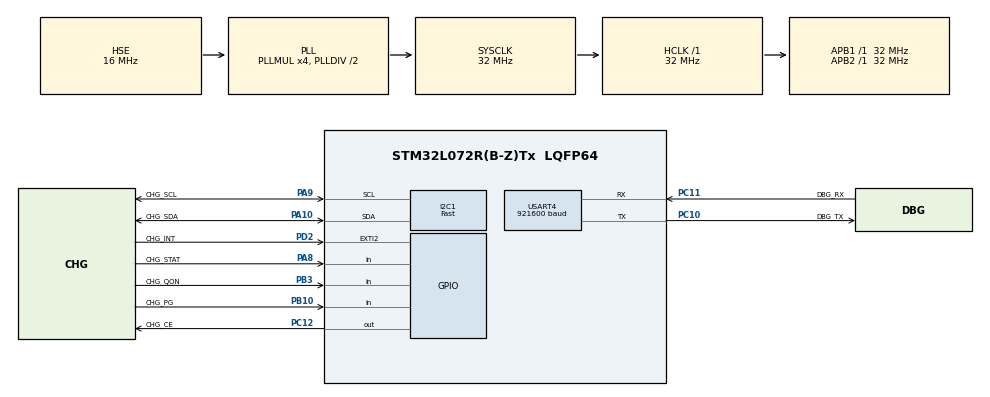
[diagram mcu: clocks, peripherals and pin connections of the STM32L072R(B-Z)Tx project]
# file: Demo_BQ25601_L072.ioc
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Dma.Request0=USART4_TX
Dma.USART4_TX.0.Direction=DMA_MEMORY_TO_PERIPH
Dma.USART4_TX.0.Instance=DMA1_Channel3
Dma.USART4_TX.0.MemDataAlignment=DMA_MDATAALIGN_BYTE
Dma.USART4_TX.0.MemInc=DMA_MINC_ENABLE
Dma.USART4_TX.0.Mode=DMA_NORMAL
Dma.USART4_TX.0.PeriphDataAlignment=DMA_PDATAALIGN_BYTE
Dma.USART4_TX.0.PeriphInc=DMA_PINC_DISABLE
Dma.USART4_TX.0.Priority=DMA_PRIORITY_LOW
I2C1.I2C_Speed_Mode=I2C_Fast
I2C1.Timing=0x0060112F
Mcu.Family=STM32L0
Mcu.Name=STM32L072R(B-Z)Tx
Mcu.Package=LQFP64
NVIC.DMA1_Channel2_3_IRQn=true\:0\:0\:false\:false\:true\:false\:true\:true
NVIC.EXTI2_3_IRQn=true\:0\:0\:false\:false\:true\:true\:true\:true
NVIC.USART4_5_IRQn=true\:0\:0\:false\:false\:true\:true\:true\:true
PA0.GPIO_Label=WKUP_QON
PA0.Mode=SYS_WakeUp0
PA0.Signal=SYS_WKUP1
PA10.GPIO_Label=CHG_SDA
PA10.Mode=I2C
PA10.Signal=I2C1_SDA
PA13.Mode=Serial_Wire
PA13.Signal=SYS_SWDIO
PA14.Mode=Serial_Wire
PA14.Signal=SYS_SWCLK
PA8.GPIO_Label=CHG_STAT
PA8.Signal=GPIO_Input
PA9.GPIO_Label=CHG_SCL
PA9.Mode=I2C
PA9.Signal=I2C1_SCL
PB10.GPIO_Label=CHG_PG
PB10.Signal=GPIO_Input
PB3.GPIO_Label=CHG_QON
PB3.Signal=GPIO_Input
PC10.GPIO_Label=DBG_TX
PC10.Mode=Asynchronous
PC10.Signal=USART4_TX
PC11.GPIO_Label=DBG_RX
PC11.Mode=Asynchronous
PC11.Signal=USART4_RX
PC12.GPIO_Label=CHG_CE
PC12.Signal=GPIO_Output
PD2.GPIO_Label=CHG_INT
PD2.GPIO_ModeDefaultEXTI=GPIO_MODE_IT_FALLING
PD2.GPIO_PuPd=GPIO_NOPULL
PD2.Signal=GPXTI2
PH0-OSC_IN.Mode=HSE-External-Oscillator
PH0-OSC_IN.Signal=RCC_OSC_IN
PH1-OSC_OUT.Mode=HSE-External-Oscillator
PH1-OSC_OUT.Signal=RCC_OSC_OUT
ProjectManager.HeapSize=0x200
ProjectManager.StackSize=0x400
ProjectManager.TargetToolchain=STM32CubeIDE
RCC.AHBFreq_Value=32000000
RCC.APB1Freq_Value=32000000
RCC.APB1TimFreq_Value=32000000
RCC.APB2Freq_Value=32000000
RCC.APB2TimFreq_Value=32000000
RCC.HCLKFreq_Value=32000000
RCC.HSE_VALUE=16000000
RCC.HSI16_VALUE=16000000
RCC.HSI48_VALUE=48000000
RCC.HSI_VALUE=16000000
RCC.LSE_VALUE=32768
RCC.MSI_VALUE=2097000
RCC.PLLMUL=RCC_PLLMUL_4
RCC.PLLSourceVirtual=RCC_PLLSOURCE_HSE
RCC.SYSCLKFreq_VALUE=32000000
RCC.SYSCLKSource=RCC_SYSCLKSOURCE_PLLCLK
RCC.VCOOutputFreq_Value=64000000
USART4.BaudRate=921600
USART4.VirtualMode-Asynchronous=VM_ASYNC
board=custom

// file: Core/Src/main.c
/* USER CODE BEGIN Header */
/**
  ******************************************************************************
  * @file           : main.c
  * @brief          : Main program body
  *
  * library:
  * @file			: bq25601.h
  * @file			: bq25601.c
  *
  * Note: add	../BQ25601/Inc to Include Paths (in C/C++ Build -> Settings)
  * 	  add	BQ25601/Inc to Paths and Symbols (in C/C++ General)
  * 	  add	BQ25601 folder in source locations also in Paths and Symbols (in C/C++ General)
  ******************************************************************************
  * @attention
  *
  * Copyright (c) 2025 STMicroelectronics.
  * All rights reserved.
  *
  * This software is licensed under terms that can be found in the LICENSE file
  * in the root directory of this software component.
  * If no LICENSE file comes with this software, it is provided AS-IS.
  *
  ******************************************************************************
  */
/* USER CODE END Header */
#include "main.h"

/* USER CODE BEGIN Includes */
#include "bq25601.h"
/* USER CODE END Includes */

I2C_HandleTypeDef hi2c1;

UART_HandleTypeDef huart4;
DMA_HandleTypeDef hdma_usart4_tx;

void SystemClock_Config(void);
static void MX_GPIO_Init(void);
static void MX_DMA_Init(void);
static void MX_I2C1_Init(void);
static void MX_USART4_UART_Init(void);

/* USER CODE BEGIN 0 */
uint8_t data8 = 0;
BQ25601_Data_TypeDef chg_data;
uint8_t vbus_st = 0;
uint8_t device_pn = 0;
uint8_t chg_st = 0;
uint8_t qon = 0;
uint8_t stat = 0;
uint8_t ntc = 0b111;
uint8_t demo_bit = 0;
uint8_t rev = 0;

BQ25601_Data_TypeDef bq25601_registers;
uint8_t bq25601_vbus = 0;
uint8_t bq25601_chg_current = BQ25601_REG00_MSK_IINDPM_4_1600;
uint8_t bq25601_ntc = 0;
/* USER CODE END 0 */

int main(void)
{

  /* MCU Configuration--------------------------------------------------------*/

  /* Reset of all peripherals, Initializes the Flash interface and the Systick. */
  HAL_Init();

  /* Configure the system clock */
  SystemClock_Config();

  /* Initialize all configured peripherals */
  MX_GPIO_Init();
  MX_DMA_Init();
  MX_I2C1_Init();
  MX_USART4_UART_Init();
  /* USER CODE BEGIN 2 */
  // Init BQ25601:
  //bq25601_write_ce_pin(0);
  bq25601_read_all_registers(&chg_data);
  bq25601_set_charge_current_limit(bq25601_chg_current);

  // Note: mention interrupt callback in bq25601.c
  /* USER CODE END 2 */

  /* Infinite loop */
  /* USER CODE BEGIN WHILE */
  while (1)
  {
	  bq25601_read_all_registers(&chg_data);

	  vbus_st = bq25601_get_vbus_status();
	  chg_st = bq25601_get_chrg_status();
	  ntc = bq25601_get_ntc_fault();
	  device_pn = bq25601_get_device_pn();
	  rev = bq25601_get_device_rev();

	  qon = bq25601_read_qon_pin();
	  stat = bq25601_read_stat_pin();

	  demo_bit = bq25601_read_bit(BQ25601_REG0A_ADDRESS, BQ25601_REG0A_MSK_VBUS_GD);

	  HAL_Delay(100);
    /* USER CODE END WHILE */

    /* USER CODE BEGIN 3 */
	  if(HAL_GetTick() > 60000)
		  bq25601_enter_ship_mode();
  }
  /* USER CODE END 3 */
}

void SystemClock_Config(void)
{
  RCC_OscInitTypeDef RCC_OscInitStruct = {0};
  RCC_ClkInitTypeDef RCC_ClkInitStruct = {0};
  RCC_PeriphCLKInitTypeDef PeriphClkInit = {0};

  /** Configure the main internal regulator output voltage
  */
  __HAL_PWR_VOLTAGESCALING_CONFIG(PWR_REGULATOR_VOLTAGE_SCALE1);

  /** Initializes the RCC Oscillators according to the specified parameters
  * in the RCC_OscInitTypeDef structure.
  */
  RCC_OscInitStruct.OscillatorType = RCC_OSCILLATORTYPE_HSE;
  RCC_OscInitStruct.HSEState = RCC_HSE_ON;
  RCC_OscInitStruct.PLL.PLLState = RCC_PLL_ON;
  RCC_OscInitStruct.PLL.PLLSource = RCC_PLLSOURCE_HSE;
  RCC_OscInitStruct.PLL.PLLMUL = RCC_PLLMUL_4;
  RCC_OscInitStruct.PLL.PLLDIV = RCC_PLLDIV_2;
  if (HAL_RCC_OscConfig(&RCC_OscInitStruct) != HAL_OK)
  {
    Error_Handler();
  }

  /** Initializes the CPU, AHB and APB buses clocks
  */
  RCC_ClkInitStruct.ClockType = RCC_CLOCKTYPE_HCLK|RCC_CLOCKTYPE_SYSCLK
                              |RCC_CLOCKTYPE_PCLK1|RCC_CLOCKTYPE_PCLK2;
  RCC_ClkInitStruct.SYSCLKSource = RCC_SYSCLKSOURCE_PLLCLK;
  RCC_ClkInitStruct.AHBCLKDivider = RCC_SYSCLK_DIV1;
  RCC_ClkInitStruct.APB1CLKDivider = RCC_HCLK_DIV1;
  RCC_ClkInitStruct.APB2CLKDivider = RCC_HCLK_DIV1;

  if (HAL_RCC_ClockConfig(&RCC_ClkInitStruct, FLASH_LATENCY_1) != HAL_OK)
  {
    Error_Handler();
  }
  PeriphClkInit.PeriphClockSelection = RCC_PERIPHCLK_I2C1;
  PeriphClkInit.I2c1ClockSelection = RCC_I2C1CLKSOURCE_PCLK1;
  if (HAL_RCCEx_PeriphCLKConfig(&PeriphClkInit) != HAL_OK)
  {
    Error_Handler();
  }
}

static void MX_I2C1_Init(void)
{

  hi2c1.Instance = I2C1;
  hi2c1.Init.Timing = 0x0060112F;
  hi2c1.Init.OwnAddress1 = 0;
  hi2c1.Init.AddressingMode = I2C_ADDRESSINGMODE_7BIT;
  hi2c1.Init.DualAddressMode = I2C_DUALADDRESS_DISABLE;
  hi2c1.Init.OwnAddress2 = 0;
  hi2c1.Init.OwnAddress2Masks = I2C_OA2_NOMASK;
  hi2c1.Init.GeneralCallMode = I2C_GENERALCALL_DISABLE;
  hi2c1.Init.NoStretchMode = I2C_NOSTRETCH_DISABLE;
  if (HAL_I2C_Init(&hi2c1) != HAL_OK)
  {
    Error_Handler();
  }

  /** Configure Analogue filter
  */
  if (HAL_I2CEx_ConfigAnalogFilter(&hi2c1, I2C_ANALOGFILTER_ENABLE) != HAL_OK)
  {
    Error_Handler();
  }

  /** Configure Digital filter
  */
  if (HAL_I2CEx_ConfigDigitalFilter(&hi2c1, 0) != HAL_OK)
  {
    Error_Handler();
  }

}

static void MX_USART4_UART_Init(void)
{

  huart4.Instance = USART4;
  huart4.Init.BaudRate = 921600;
  huart4.Init.WordLength = UART_WORDLENGTH_8B;
  huart4.Init.StopBits = UART_STOPBITS_1;
  huart4.Init.Parity = UART_PARITY_NONE;
  huart4.Init.Mode = UART_MODE_TX_RX;
  huart4.Init.HwFlowCtl = UART_HWCONTROL_NONE;
  huart4.Init.OverSampling = UART_OVERSAMPLING_16;
  huart4.Init.OneBitSampling = UART_ONE_BIT_SAMPLE_DISABLE;
  huart4.AdvancedInit.AdvFeatureInit = UART_ADVFEATURE_NO_INIT;
  if (HAL_UART_Init(&huart4) != HAL_OK)
  {
    Error_Handler();
  }

}

static void MX_DMA_Init(void)
{

  /* DMA controller clock enable */
  __HAL_RCC_DMA1_CLK_ENABLE();

  /* DMA interrupt init */
  /* DMA1_Channel2_3_IRQn interrupt configuration */
  HAL_NVIC_SetPriority(DMA1_Channel2_3_IRQn, 0, 0);
  HAL_NVIC_EnableIRQ(DMA1_Channel2_3_IRQn);

}

static void MX_GPIO_Init(void)
{
  GPIO_InitTypeDef GPIO_InitStruct = {0};

  /* GPIO Ports Clock Enable */
  __HAL_RCC_GPIOH_CLK_ENABLE();
  __HAL_RCC_GPIOA_CLK_ENABLE();
  __HAL_RCC_GPIOB_CLK_ENABLE();
  __HAL_RCC_GPIOC_CLK_ENABLE();
  __HAL_RCC_GPIOD_CLK_ENABLE();

  /*Configure GPIO pin Output Level */
  HAL_GPIO_WritePin(CHG_CE_GPIO_Port, CHG_CE_Pin, GPIO_PIN_RESET);

  /*Configure GPIO pins : CHG_PG_Pin CHG_QON_Pin */
  GPIO_InitStruct.Pin = CHG_PG_Pin|CHG_QON_Pin;
  GPIO_InitStruct.Mode = GPIO_MODE_INPUT;
  GPIO_InitStruct.Pull = GPIO_NOPULL;
  HAL_GPIO_Init(GPIOB, &GPIO_InitStruct);

  /*Configure GPIO pin : CHG_STAT_Pin */
  GPIO_InitStruct.Pin = CHG_STAT_Pin;
  GPIO_InitStruct.Mode = GPIO_MODE_INPUT;
  GPIO_InitStruct.Pull = GPIO_NOPULL;
  HAL_GPIO_Init(CHG_STAT_GPIO_Port, &GPIO_InitStruct);

  /*Configure GPIO pin : CHG_CE_Pin */
  GPIO_InitStruct.Pin = CHG_CE_Pin;
  GPIO_InitStruct.Mode = GPIO_MODE_OUTPUT_PP;
  GPIO_InitStruct.Pull = GPIO_NOPULL;
  GPIO_InitStruct.Speed = GPIO_SPEED_FREQ_LOW;
  HAL_GPIO_Init(CHG_CE_GPIO_Port, &GPIO_InitStruct);

  /*Configure GPIO pin : CHG_INT_Pin */
  GPIO_InitStruct.Pin = CHG_INT_Pin;
  GPIO_InitStruct.Mode = GPIO_MODE_IT_FALLING;
  GPIO_InitStruct.Pull = GPIO_NOPULL;
  HAL_GPIO_Init(CHG_INT_GPIO_Port, &GPIO_InitStruct);

  /* EXTI interrupt init*/
  HAL_NVIC_SetPriority(EXTI2_3_IRQn, 0, 0);
  HAL_NVIC_EnableIRQ(EXTI2_3_IRQn);

}

void Error_Handler(void)
{
  __disable_irq();
  while (1)
  {
  }
}
